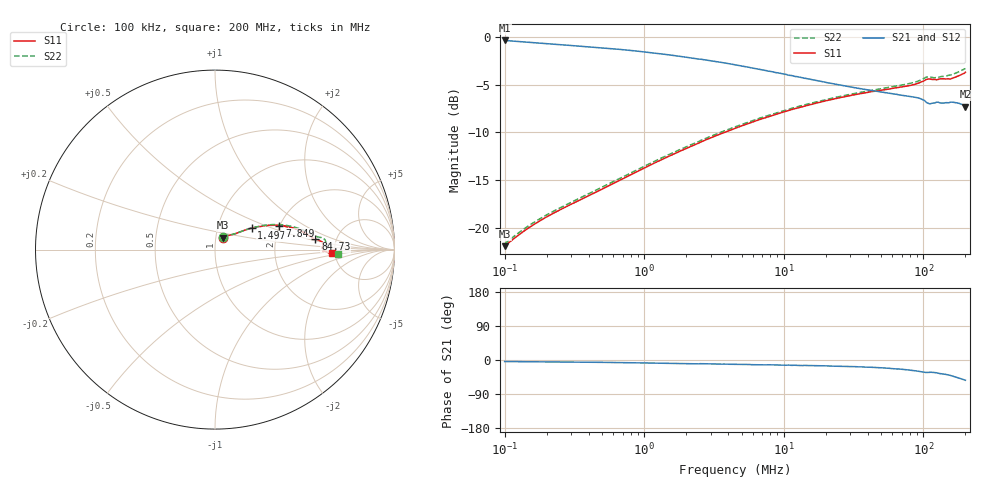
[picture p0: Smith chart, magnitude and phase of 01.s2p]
#  HZ  S  RI  R  50.00
! Rohde & Schwarz Vector Network Analyzer
! Rohde-Schwarz,ZNLE6-2Port,1323001256200024,1.71.1.10-23.02.1.238
! Created: UTC 4/8/2025, 6:47:17 AM
! freq[Hz]  re:S11  im:S11  re:S21  im:S21  re:S12  im:S12  re:S22  im:S22
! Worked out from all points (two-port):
!   1001 points, 100 kHz to 200 MHz, reference 50 ohm
!   highest |S21| = -0.36 dB at 100 kHz (marker M1); lowest = -7.3 dB at 200 MHz (marker M2)
!   |S21| within 3 dB of the highest: start of sweep to 6.552 MHz
!   lowest |S11| = -22.0 dB at 100 kHz (marker M3), VSWR 1.17, Z = 54 + j7.3 ohm
!   |S11| at or under -10 dB: start of sweep to 3.767 MHz
!   |S22| runs from -21.7 to -3.3 dB; largest |S21 - S12| = 0.019
!   S11 on the Smith chart (normalised r, x): 100 kHz: 1.08, +0.15; 1.497 MHz: 1.46, +0.37; 7.849 MHz: 1.99, +0.62; 84.73 MHz: 3.46, +0.59; 200 MHz: 4.75, -0.35
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100000  0.0431 0.0672  0.9575 -0.0673  0.9564 -0.069  0.0442 0.069
174170.7  0.0734 0.0781  0.9274 -0.0784  0.9256 -0.0802  0.0753 0.08
355854.1  0.1105 0.0873  0.8904 -0.088  0.8878 -0.0898  0.1133 0.0892
1266322  0.1907 0.116  0.8106 -0.1194  0.8065 -0.1213  0.1949 0.118
1496810  0.2039 0.1196  0.7973 -0.1236  0.7929 -0.1255  0.2083 0.1216
2397897  0.2437 0.1282  0.7567 -0.1347  0.7518 -0.1357  0.2488 0.1299
2607005  0.2526 0.1284  0.752 -0.1295  0.7429 -0.145  0.2565 0.1327
4472136  0.3028 0.1354  0.7014 -0.1415  0.6917 -0.1509  0.3078 0.1385
7848582  0.3583 0.1341  0.6456 -0.1469  0.6358 -0.1587  0.3634 0.1385
1.591428e7  0.4265 0.1236  0.5779 -0.1539  0.5683 -0.1603  0.4322 0.1283
2.945577e7  0.4806 0.1054  0.5236 -0.1634  0.5155 -0.1655  0.4871 0.1104
3.931964e7  0.5029 0.0938  0.5003 -0.1717  0.4918 -0.1733  0.5104 0.0997
4.27485e7  0.5109 0.0844  0.4941 -0.1721  0.4825 -0.1866  0.5168 0.0962
5.663162e7  0.5281 0.0742  0.4708 -0.1887  0.4584 -0.1966  0.5374 0.0851
6.299027e7  0.5356 0.073  0.4605 -0.1987  0.452 -0.1991  0.5456 0.0807
8.47254e7  0.5592 0.0579  0.4289 -0.2262  0.4163 -0.233  0.5723 0.0708
9.938829e7  0.5842 0.0493  0.3985 -0.2459  0.3854 -0.2522  0.5992 0.0633
1.113911e8  0.6025 0.0219  0.3761 -0.2394  0.3624 -0.2432  0.6168 0.0329
1.238982e8  0.5962 0.00812  0.3784 -0.253  0.3643 -0.2558  0.6114 0.0237
1.580149e8  0.604 -0.00942  0.3426 -0.3  0.3303 -0.3008  0.6333 0.00504
1.82565e8  0.6301 -0.0165  0.2972 -0.3342  0.2852 -0.3346  0.6615 -0.00805
2e8  0.6536 -0.0213  0.2568 -0.3462  0.2466 -0.3458  0.6829 -0.0234
